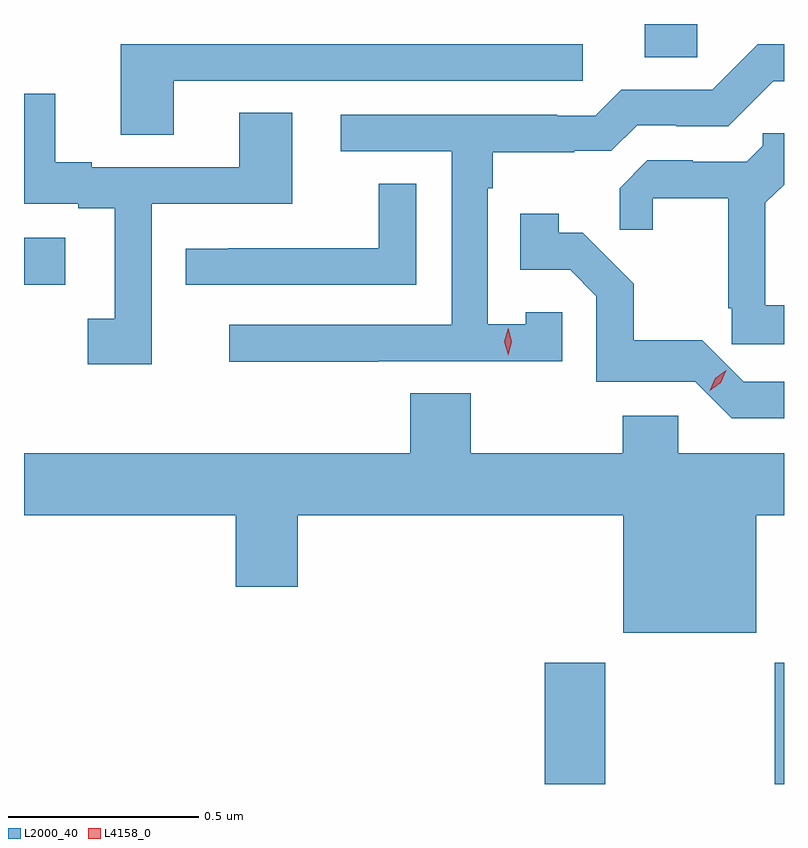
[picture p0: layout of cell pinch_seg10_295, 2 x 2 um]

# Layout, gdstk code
import gdstk
lib = gdstk.Library(unit=1e-6, precision=1e-09)
def R(c, l, rs):  # rectangles x0, y0, x1, y1
    for r in rs: c.add(gdstk.rectangle(r[:2], r[2:], *l))
def P(c, l, *ps):  # polygons
    for p in ps: c.add(gdstk.Polygon(p, *l))
L2000_40 = (2000, 40)
L4158_0 = (4158, 0)

pinch_seg10_295 = lib.new_cell('pinch_seg10_295')
R(pinch_seg10_295, L2000_40, [(501.485,1314.261,501.645,1314.58), (502.09,1314.261,502.115,1314.58), (500.115,1315.575,500.224,1315.699), (501.749,1316.173,501.887,1316.261)])
P(pinch_seg10_295, L2000_40, [(500.509,1316.112),(501.586,1316.112),(501.586,1316.208),(500.369,1316.208),(500.369,1315.969),(500.509,1315.969)],
  [(501.047,1315.374),(501.531,1315.374),(501.531,1315.503),(501.435,1315.503),(501.435,1315.471),(501.336,1315.471),(501.336,1315.829),(501.349,1315.829),(501.349,1315.923),(501.563,1315.923),(501.563,1315.927),(501.661,1315.927),(501.729,1315.995),(501.832,1315.995),(501.832,1315.992),(501.968,1315.992),(502.087,1316.111),(502.115,1316.111),(502.115,1316.208),(502.046,1316.208),(501.926,1316.088),(501.687,1316.088),(501.618,1316.019),(501.518,1316.019),(501.518,1316.022),(500.949,1316.022),(500.949,1315.926),(501.24,1315.926),(501.24,1315.47),(500.655,1315.47),(500.655,1315.372),(501.047,1315.372)],
  [(500.451,1315.788),(500.821,1315.788),(500.821,1316.027),(500.681,1316.027),(500.681,1315.884),(500.293,1315.884),(500.293,1315.897),(500.197,1315.897),(500.197,1316.077),(500.115,1316.077),(500.115,1315.788),(500.258,1315.788),(500.258,1315.776),(500.354,1315.776),(500.354,1315.485),(500.283,1315.485),(500.283,1315.365),(500.451,1315.365)],
  [(502.115,1315.521),(502.066,1315.521),(502.066,1315.79),(502.115,1315.838),(502.115,1315.974),(502.059,1315.974),(502.059,1315.941),(502.017,1315.899),(501.875,1315.899),(501.875,1315.902),(501.755,1315.902),(501.683,1315.829),(501.683,1315.719),(501.77,1315.719),(501.77,1315.802),(501.968,1315.802),(501.968,1315.513),(501.977,1315.513),(501.977,1315.418),(502.115,1315.418)],
  [(501.147,1315.841),(501.049,1315.841),(501.049,1315.671),(500.653,1315.671),(500.653,1315.67),(500.541,1315.67),(500.541,1315.575),(501.147,1315.575)],
  [(502.115,1315.32),(502.009,1315.32),(501.9,1315.429),(501.72,1315.429),(501.72,1315.577),(501.585,1315.712),(501.522,1315.712),(501.522,1315.762),(501.421,1315.762),(501.421,1315.614),(501.552,1315.614),(501.621,1315.545),(501.621,1315.32),(501.882,1315.32),(501.978,1315.224),(502.115,1315.224)],
  [(502.042,1314.968),(502.115,1314.968),(502.115,1315.132),(501.837,1315.132),(501.837,1315.23),(501.691,1315.23),(501.691,1315.132),(501.291,1315.132),(501.291,1315.289),(501.131,1315.289),(501.131,1315.132),(500.115,1315.132),(500.115,1314.968),(500.672,1314.968),(500.672,1314.78),(500.836,1314.78),(500.836,1314.968),(501.692,1314.968),(501.692,1314.659),(502.042,1314.659)])
P(pinch_seg10_295, L4158_0, [(501.92,1315.296),(501.92,1315.296),(501.934,1315.329),(501.963,1315.35),(501.963,1315.35),(501.963,1315.35),(501.949,1315.317),(501.92,1315.296)],
  [(501.389,1315.389),(501.389,1315.39),(501.379,1315.425),(501.389,1315.461),(501.389,1315.461),(501.389,1315.461),(501.399,1315.425),(501.389,1315.39)])

lib.write_gds('pinch_seg10_295.gds')
